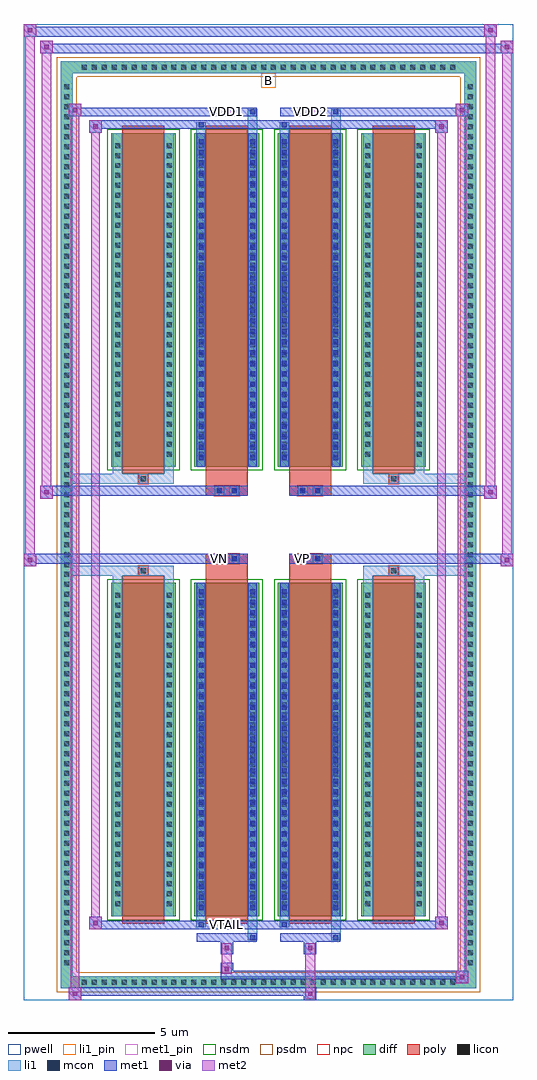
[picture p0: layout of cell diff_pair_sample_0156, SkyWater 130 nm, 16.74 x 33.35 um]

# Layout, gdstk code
import gdstk
lib = gdstk.Library(unit=1e-6, precision=5e-09)
def R(c, l, rs):  # rectangles x0, y0, x1, y1
    for r in rs: c.add(gdstk.rectangle(r[:2], r[2:], *l))
def A(c, l, x, y, w, h, nx, ny, dx, dy):  # array of equal rectangles
    R(c, l, [(x+i*dx, y+j*dy, x+i*dx+w, y+j*dy+h) for i in range(nx) for j in range(ny)])
def P(c, l, *ps):  # polygons
    for p in ps: c.add(gdstk.Polygon(p, *l))
pwell = (64, 44)
diff = (65, 20)
poly = (66, 20)
licon = (66, 44)
li1_pin = (67, 16)
li1 = (67, 20)
mcon = (67, 44)
met1_pin = (68, 16)
met1 = (68, 20)
via = (68, 44)
met2 = (69, 20)
nsdm = (93, 44)
psdm = (94, 20)
npc = (95, 20)

diff_pair_sample_0156 = lib.new_cell('diff_pair_sample_0156')
R(diff_pair_sample_0156, pwell, [(-8.37,-16.24,8.37,17.11), (-5.69,-14.43,-0.01,-0.795), (0.01,-14.43,5.69,-0.795), (-5.69,0.795,-0.01,14.43), (0.01,0.795,5.69,14.43)])
A(diff_pair_sample_0156, diff, -6.495, -15.84, 0.41, 0.41, 38, 2, 0.34, 31.27)
A(diff_pair_sample_0156, diff, -7.1, -15.165, 0.41, 0.41, 1, 89, 0, 0.34)
A(diff_pair_sample_0156, diff, 6.69, -15.165, 0.41, 0.41, 1, 89, 0, 0.34)
A(diff_pair_sample_0156, diff, -5.38, -13.385, 2.21, 11.4, 4, 2, 2.85, 15.37)
R(diff_pair_sample_0156, diff, [(-6.495,-15.84,6.495,-15.43), (-7.1,-15.165,-6.69,15.165), (6.69,-15.165,7.1,15.165), (-6.495,15.43,6.495,15.84)])
P(diff_pair_sample_0156, diff, [(7.1,15.84),(-7.1,15.84),(-7.1,-15.43),(-6.69,-15.43),(-6.69,15.43),(6.69,15.43),(6.69,-15.43),(-6.69,-15.43),(-7.1,-15.43),(-7.1,-15.84),(7.1,-15.84)])
A(diff_pair_sample_0156, poly, -4.99, -13.635, 1.43, 11.9, 4, 2, 2.85, 15.37)
R(diff_pair_sample_0156, poly, [(-4.44,-1.735,-4.11,-1.405), (-4.44,-1.735,-4.11,-1.405), (-2.14,-1.735,-0.71,-1.325), (0.71,-1.735,2.14,-1.325), (4.11,-1.735,4.44,-1.405), (4.11,-1.735,4.44,-1.405), (-2.14,-1.325,-0.71,-0.995), (-1.84,-1.325,-1.51,-0.995), (-1.34,-1.325,-1.01,-0.995), (0.71,-1.325,2.14,-0.995), (1.01,-1.325,1.34,-0.995), (1.51,-1.325,1.84,-0.995), (-2.14,0.995,-0.71,1.325), (-1.84,0.995,-1.51,1.325), (-1.34,0.995,-1.01,1.325), (0.71,0.995,2.14,1.325), (1.01,0.995,1.34,1.325), (1.51,0.995,1.84,1.325), (-2.14,1.325,-0.71,1.735), (0.71,1.325,2.14,1.735), (-4.44,1.405,-4.11,1.735), (-4.44,1.405,-4.11,1.735), (4.11,1.405,4.44,1.735), (4.11,1.405,4.44,1.735)])
A(diff_pair_sample_0156, licon, -6.375, -15.72, 0.17, 0.17, 38, 2, 0.34, 31.27)
A(diff_pair_sample_0156, licon, -6.98, -15.045, 0.17, 0.17, 1, 89, 0, 0.34)
A(diff_pair_sample_0156, licon, 6.81, -15.045, 0.17, 0.17, 1, 89, 0, 0.34)
A(diff_pair_sample_0156, licon, -5.24, -13.04, 0.17, 0.17, 1, 32, 0, 0.34)
A(diff_pair_sample_0156, licon, -3.48, -13.04, 0.17, 0.17, 1, 32, 0, 0.34)
A(diff_pair_sample_0156, licon, -2.39, -13.04, 0.17, 0.17, 1, 32, 0, 0.34)
A(diff_pair_sample_0156, licon, -0.63, -13.04, 0.17, 0.17, 1, 32, 0, 0.34)
A(diff_pair_sample_0156, licon, 0.46, -13.04, 0.17, 0.17, 1, 32, 0, 0.34)
A(diff_pair_sample_0156, licon, 2.22, -13.04, 0.17, 0.17, 1, 32, 0, 0.34)
A(diff_pair_sample_0156, licon, 3.31, -13.04, 0.17, 0.17, 1, 32, 0, 0.34)
A(diff_pair_sample_0156, licon, 5.07, -13.04, 0.17, 0.17, 1, 32, 0, 0.34)
A(diff_pair_sample_0156, licon, -5.24, 2.33, 0.17, 0.17, 1, 32, 0, 0.34)
A(diff_pair_sample_0156, licon, -3.48, 2.33, 0.17, 0.17, 1, 32, 0, 0.34)
A(diff_pair_sample_0156, licon, -2.39, 2.33, 0.17, 0.17, 1, 32, 0, 0.34)
A(diff_pair_sample_0156, licon, -0.63, 2.33, 0.17, 0.17, 1, 32, 0, 0.34)
A(diff_pair_sample_0156, licon, 0.46, 2.33, 0.17, 0.17, 1, 32, 0, 0.34)
A(diff_pair_sample_0156, licon, 2.22, 2.33, 0.17, 0.17, 1, 32, 0, 0.34)
A(diff_pair_sample_0156, licon, 3.31, 2.33, 0.17, 0.17, 1, 32, 0, 0.34)
A(diff_pair_sample_0156, licon, 5.07, 2.33, 0.17, 0.17, 1, 32, 0, 0.34)
R(diff_pair_sample_0156, licon, [(-4.36,-1.655,-4.19,-1.485), (4.19,-1.655,4.36,-1.485), (-1.76,-1.245,-1.59,-1.075), (-1.26,-1.245,-1.09,-1.075), (1.09,-1.245,1.26,-1.075), (1.59,-1.245,1.76,-1.075), (-1.76,1.075,-1.59,1.245), (-1.26,1.075,-1.09,1.245), (1.09,1.075,1.26,1.245), (1.59,1.075,1.76,1.245), (-4.36,1.485,-4.19,1.655), (4.19,1.485,4.36,1.655)])
R(diff_pair_sample_0156, li1_pin, [(-0.25,14.93,0.25,15.43)])
A(diff_pair_sample_0156, li1, -6.455, -15.8, 0.33, 0.33, 38, 2, 0.34, 31.27)
A(diff_pair_sample_0156, li1, -7.06, -15.125, 0.33, 0.33, 1, 89, 0, 0.34)
A(diff_pair_sample_0156, li1, 6.73, -15.125, 0.33, 0.33, 1, 89, 0, 0.34)
A(diff_pair_sample_0156, li1, -2.39, -13.17, 0.17, 0.17, 1, 31, 0, 0.36)
A(diff_pair_sample_0156, li1, -0.63, -13.17, 0.17, 0.17, 1, 31, 0, 0.36)
A(diff_pair_sample_0156, li1, 0.46, -13.17, 0.17, 0.17, 1, 31, 0, 0.36)
A(diff_pair_sample_0156, li1, 2.22, -13.17, 0.17, 0.17, 1, 31, 0, 0.36)
A(diff_pair_sample_0156, li1, -5.32, -13.12, 0.33, 0.33, 1, 32, 0, 0.34)
A(diff_pair_sample_0156, li1, -3.56, -13.12, 0.33, 0.33, 1, 32, 0, 0.34)
A(diff_pair_sample_0156, li1, -2.47, -13.12, 0.33, 0.33, 1, 32, 0, 0.34)
A(diff_pair_sample_0156, li1, -0.71, -13.12, 0.33, 0.33, 1, 32, 0, 0.34)
A(diff_pair_sample_0156, li1, 0.38, -13.12, 0.33, 0.33, 1, 32, 0, 0.34)
A(diff_pair_sample_0156, li1, 2.14, -13.12, 0.33, 0.33, 1, 32, 0, 0.34)
A(diff_pair_sample_0156, li1, 3.23, -13.12, 0.33, 0.33, 1, 32, 0, 0.34)
A(diff_pair_sample_0156, li1, 4.99, -13.12, 0.33, 0.33, 1, 32, 0, 0.34)
A(diff_pair_sample_0156, li1, -2.39, 2.2, 0.17, 0.17, 1, 31, 0, 0.36)
A(diff_pair_sample_0156, li1, -0.63, 2.2, 0.17, 0.17, 1, 31, 0, 0.36)
A(diff_pair_sample_0156, li1, 0.46, 2.2, 0.17, 0.17, 1, 31, 0, 0.36)
A(diff_pair_sample_0156, li1, 2.22, 2.2, 0.17, 0.17, 1, 31, 0, 0.36)
A(diff_pair_sample_0156, li1, -5.32, 2.25, 0.33, 0.33, 1, 32, 0, 0.34)
A(diff_pair_sample_0156, li1, -3.56, 2.25, 0.33, 0.33, 1, 32, 0, 0.34)
A(diff_pair_sample_0156, li1, -2.47, 2.25, 0.33, 0.33, 1, 32, 0, 0.34)
A(diff_pair_sample_0156, li1, -0.71, 2.25, 0.33, 0.33, 1, 32, 0, 0.34)
A(diff_pair_sample_0156, li1, 0.38, 2.25, 0.33, 0.33, 1, 32, 0, 0.34)
A(diff_pair_sample_0156, li1, 2.14, 2.25, 0.33, 0.33, 1, 32, 0, 0.34)
A(diff_pair_sample_0156, li1, 3.23, 2.25, 0.33, 0.33, 1, 32, 0, 0.34)
A(diff_pair_sample_0156, li1, 4.99, 2.25, 0.33, 0.33, 1, 32, 0, 0.34)
R(diff_pair_sample_0156, li1, [(-7.1,-15.84,-6.69,-15.43), (-7.1,-15.84,-6.69,-15.43), (-6.69,-15.84,6.69,-15.43), (6.69,-15.84,7.1,-15.43), (6.69,-15.84,7.1,-15.43), (-7.1,-15.43,-6.69,15.43), (6.69,-15.43,7.1,15.43), (-0.71,-14.19,-0.38,-13.385), (-0.63,-14.19,-0.46,-14.02), (2.14,-14.19,2.47,-13.385), (2.22,-14.19,2.39,-14.02), (-2.47,-13.76,-2.14,-13.385), (-2.39,-13.76,-2.22,-13.59), (0.38,-13.76,0.71,-13.385), (0.46,-13.76,0.63,-13.59), (-5.32,-13.385,-4.99,-1.985), (-3.56,-13.385,-3.23,-1.985), (-2.47,-13.385,-2.14,-1.985), (-0.71,-13.385,-0.38,-1.985), (0.38,-13.385,0.71,-1.985), (2.14,-13.385,2.47,-1.985), (3.23,-13.385,3.56,-1.985), (4.99,-13.385,5.32,-1.985), (-2.39,-13.17,-2.22,-2.2), (-0.63,-13.17,-0.46,-2.2), (0.46,-13.17,0.63,-2.2), (2.22,-13.17,2.39,-2.2), (-5.32,-1.985,-4.99,-1.405), (-3.56,-1.985,-3.23,-1.405), (3.23,-1.985,3.56,-1.405), (4.99,-1.985,5.32,-1.405), (-7.1,-1.735,-4.44,-1.405), (-5.32,-1.735,-4.44,-1.405), (-4.44,-1.735,-4.11,-1.405), (-4.11,-1.735,-3.23,-1.405), (3.23,-1.735,4.11,-1.405), (4.11,-1.735,4.44,-1.405), (4.11,-1.735,7.1,-1.405), (4.44,-1.735,5.32,-1.405), (-1.84,-1.325,-1.51,-0.995), (-1.34,-1.325,-1.01,-0.995), (1.01,-1.325,1.34,-0.995), (1.51,-1.325,1.84,-0.995), (-1.84,0.995,-1.51,1.325), (-1.34,0.995,-1.01,1.325), (1.01,0.995,1.34,1.325), (1.51,0.995,1.84,1.325), (-7.1,1.405,-4.44,1.735), (-5.32,1.405,-4.44,1.735), (-5.32,1.405,-4.99,1.985), (-4.44,1.405,-4.11,1.735), (-4.11,1.405,-3.23,1.735), (-3.56,1.405,-3.23,1.985), (3.23,1.405,4.11,1.735), (3.23,1.405,3.56,1.985), (4.11,1.405,4.44,1.735), (4.11,1.405,7.1,1.735), (4.44,1.405,5.32,1.735), (4.99,1.405,5.32,1.985), (-5.32,1.985,-4.99,13.385), (-3.56,1.985,-3.23,13.385), (-2.47,1.985,-2.14,13.385), (-0.71,1.985,-0.38,13.385), (0.38,1.985,0.71,13.385), (2.14,1.985,2.47,13.385), (3.23,1.985,3.56,13.385), (4.99,1.985,5.32,13.385), (-2.39,2.2,-2.22,13.17), (-0.63,2.2,-0.46,13.17), (0.46,2.2,0.63,13.17), (2.22,2.2,2.39,13.17), (-2.47,13.385,-2.14,13.76), (-0.71,13.385,-0.38,14.19), (0.38,13.385,0.71,13.76), (2.14,13.385,2.47,14.19), (-2.39,13.59,-2.22,13.76), (0.46,13.59,0.63,13.76), (-0.63,14.02,-0.46,14.19), (2.22,14.02,2.39,14.19), (-7.1,15.43,-6.69,15.84), (-7.1,15.43,-6.69,15.84), (-6.69,15.43,6.69,15.84), (6.69,15.43,7.1,15.84), (6.69,15.43,7.1,15.84)])
A(diff_pair_sample_0156, mcon, -2.39, -13.17, 0.17, 0.17, 1, 31, 0, 0.36)
A(diff_pair_sample_0156, mcon, -0.63, -13.17, 0.17, 0.17, 1, 31, 0, 0.36)
A(diff_pair_sample_0156, mcon, 0.46, -13.17, 0.17, 0.17, 1, 31, 0, 0.36)
A(diff_pair_sample_0156, mcon, 2.22, -13.17, 0.17, 0.17, 1, 31, 0, 0.36)
A(diff_pair_sample_0156, mcon, -2.39, 2.2, 0.17, 0.17, 1, 31, 0, 0.36)
A(diff_pair_sample_0156, mcon, -0.63, 2.2, 0.17, 0.17, 1, 31, 0, 0.36)
A(diff_pair_sample_0156, mcon, 0.46, 2.2, 0.17, 0.17, 1, 31, 0, 0.36)
A(diff_pair_sample_0156, mcon, 2.22, 2.2, 0.17, 0.17, 1, 31, 0, 0.36)
R(diff_pair_sample_0156, mcon, [(-0.63,-14.19,-0.46,-14.02), (2.22,-14.19,2.39,-14.02), (-2.39,-13.76,-2.22,-13.59), (0.46,-13.76,0.63,-13.59), (-1.76,-1.245,-1.59,-1.075), (-1.26,-1.245,-1.09,-1.075), (1.09,-1.245,1.26,-1.075), (1.59,-1.245,1.76,-1.075), (-1.76,1.075,-1.59,1.245), (-1.26,1.075,-1.09,1.245), (1.09,1.075,1.26,1.245), (1.59,1.075,1.76,1.245), (-2.39,13.59,-2.22,13.76), (0.46,13.59,0.63,13.76), (-0.63,14.02,-0.46,14.19), (2.22,14.02,2.39,14.19)])
R(diff_pair_sample_0156, met1_pin, [(-1.56,-13.8,-1.29,-13.53), (-1.81,-1.285,-1.54,-1.015), (1.04,-1.285,1.31,-1.015), (-1.56,13.98,-1.29,14.25), (1.29,13.98,1.56,14.25)])
A(diff_pair_sample_0156, met1, -2.45, -13.23, 0.29, 0.29, 1, 31, 0, 0.36)
A(diff_pair_sample_0156, met1, -0.69, -13.23, 0.29, 0.29, 1, 31, 0, 0.36)
A(diff_pair_sample_0156, met1, 0.4, -13.23, 0.29, 0.29, 1, 31, 0, 0.36)
A(diff_pair_sample_0156, met1, 2.16, -13.23, 0.29, 0.29, 1, 31, 0, 0.36)
A(diff_pair_sample_0156, met1, -2.45, 2.14, 0.29, 0.29, 1, 31, 0, 0.36)
A(diff_pair_sample_0156, met1, -0.69, 2.14, 0.29, 0.29, 1, 31, 0, 0.36)
A(diff_pair_sample_0156, met1, 0.4, 2.14, 0.29, 0.29, 1, 31, 0, 0.36)
A(diff_pair_sample_0156, met1, 2.16, 2.14, 0.29, 0.29, 1, 31, 0, 0.36)
R(diff_pair_sample_0156, met1, [(-6.83,-16.24,-6.4,-15.81), (1.21,-16.24,1.64,-15.81), (-6.83,-16.1,1.64,-15.81), (6.4,-15.67,6.83,-15.24), (-1.64,-15.53,6.83,-15.24), (-1.64,-15.39,-1.21,-14.96), (-1.64,-14.68,-1.21,-14.25), (1.21,-14.68,1.64,-14.25), (-2.45,-14.25,-0.4,-13.96), (-0.69,-14.25,-0.4,-13.96), (0.4,-14.25,2.45,-13.96), (2.16,-14.25,2.45,-13.96), (-6.12,-13.82,-5.69,-13.39), (-6.12,-13.82,-2.45,-13.53), (-2.45,-13.82,-2.16,-13.53), (-2.45,-13.82,-0.4,-13.53), (-0.4,-13.82,0.4,-13.53), (0.4,-13.82,0.69,-13.53), (0.4,-13.82,2.45,-13.53), (2.45,-13.82,6.12,-13.53), (5.69,-13.82,6.12,-13.39), (-2.45,-13.385,-2.16,-1.985), (-0.69,-13.385,-0.4,-1.985), (0.4,-13.385,0.69,-1.985), (2.16,-13.385,2.45,-1.985), (-8.37,-1.425,-7.94,-0.995), (7.94,-1.425,8.37,-0.995), (-8.37,-1.325,-0.71,-0.995), (-2.14,-1.325,-0.71,-0.995), (0.71,-1.325,2.14,-0.995), (0.71,-1.325,8.37,-0.995), (-1.82,-1.305,-1.53,-1.015), (-1.32,-1.305,-1.03,-1.015), (1.03,-1.305,1.32,-1.015), (1.53,-1.305,1.82,-1.015), (-7.8,0.895,-7.37,1.325), (7.37,0.895,7.8,1.325), (-7.8,0.995,-2.14,1.325), (-2.14,0.995,-0.71,1.325), (0.71,0.995,2.14,1.325), (2.14,0.995,7.8,1.325), (-1.82,1.015,-1.53,1.305), (-1.32,1.015,-1.03,1.305), (1.03,1.015,1.32,1.305), (1.53,1.015,1.82,1.305), (-2.45,1.985,-2.16,13.385), (-0.69,1.985,-0.4,13.385), (0.4,1.985,0.69,13.385), (2.16,1.985,2.45,13.385), (-6.12,13.39,-5.69,13.82), (5.69,13.39,6.12,13.82), (-6.12,13.53,-2.45,13.82), (-2.45,13.53,-2.16,13.82), (-2.45,13.53,-0.4,13.82), (-0.4,13.53,0.4,13.82), (0.4,13.53,0.69,13.82), (0.4,13.53,2.45,13.82), (2.45,13.53,6.12,13.82), (-6.83,13.96,-6.4,14.39), (-6.83,13.96,-2.45,14.25), (-2.45,13.96,-0.4,14.25), (-0.69,13.96,-0.4,14.25), (0.4,13.96,2.45,14.25), (2.16,13.96,2.45,14.25), (2.45,13.96,6.83,14.25), (6.4,13.96,6.83,14.39), (-7.8,16.11,-7.37,16.54), (-7.8,16.11,-5.69,16.44), (-5.69,16.11,5.69,16.44), (5.69,16.11,8.37,16.44), (7.94,16.11,8.37,16.54), (-8.37,16.68,-7.94,17.11), (-8.37,16.68,-5.69,17.01), (-5.69,16.68,5.69,17.01), (5.69,16.68,7.8,17.01), (7.37,16.68,7.8,17.11)])
R(diff_pair_sample_0156, via, [(-6.69,-16.1,-6.54,-15.95), (1.35,-16.1,1.5,-15.95), (6.54,-15.53,6.69,-15.38), (-1.5,-15.25,-1.35,-15.1), (-1.5,-14.54,-1.35,-14.39), (1.35,-14.54,1.5,-14.39), (-5.98,-13.68,-5.83,-13.53), (5.83,-13.68,5.98,-13.53), (-8.23,-1.285,-8.08,-1.135), (8.08,-1.285,8.23,-1.135), (-7.66,1.035,-7.51,1.185), (7.51,1.035,7.66,1.185), (-5.98,13.53,-5.83,13.68), (5.83,13.53,5.98,13.68), (-6.69,14.1,-6.54,14.25), (6.54,14.1,6.69,14.25), (-7.66,16.25,-7.51,16.4), (8.08,16.25,8.23,16.4), (-8.23,16.82,-8.08,16.97), (7.51,16.82,7.66,16.97)])
R(diff_pair_sample_0156, met2, [(-6.83,-16.24,-6.4,-15.81), (-6.76,-16.24,-6.47,14.39), (-6.47,-16.24,-6.4,-15.81), (-6.78,-16.19,-6.45,-15.86), (1.26,-16.19,1.59,-15.86), (1.26,-15.86,1.59,-14.63), (6.4,-15.67,6.83,-15.24), (6.47,-15.67,6.76,14.39), (6.76,-15.67,6.83,-15.24), (6.45,-15.62,6.78,-15.29), (-1.59,-15.34,-1.26,-15.01), (-1.59,-15.01,-1.26,-14.63), (-1.59,-14.63,-1.26,-14.3), (1.26,-14.63,1.59,-14.3), (-6.12,-13.82,-5.69,-13.39), (-6.05,-13.82,-5.76,13.82), (-5.76,-13.82,-5.69,-13.39), (5.69,-13.82,6.12,-13.39), (5.76,-13.82,6.05,13.82), (6.05,-13.82,6.12,-13.39), (-6.07,-13.77,-5.74,-13.44), (5.74,-13.77,6.07,-13.44), (-8.37,-1.425,-7.94,-0.995), (-8.32,-1.425,-7.99,17.11), (-7.99,-1.425,-7.94,-0.995), (7.94,-1.425,8.37,-0.995), (7.99,-1.425,8.32,16.54), (8.32,-1.425,8.37,-0.995), (-8.32,-1.375,-7.99,-1.045), (7.99,-1.375,8.32,-1.045), (-7.8,0.895,-7.37,1.325), (-7.75,0.895,-7.42,16.54), (-7.42,0.895,-7.37,1.325), (7.37,0.895,7.8,1.325), (7.42,0.895,7.75,17.11), (7.75,0.895,7.8,1.325), (-7.75,0.945,-7.42,1.275), (7.42,0.945,7.75,1.275), (-6.12,13.39,-5.69,13.82), (-5.76,13.39,-5.69,13.82), (5.69,13.39,6.12,13.82), (6.05,13.39,6.12,13.82), (-6.07,13.44,-5.74,13.77), (5.74,13.44,6.07,13.77), (-6.83,13.96,-6.4,14.39), (-6.47,13.96,-6.4,14.39), (6.4,13.96,6.83,14.39), (6.76,13.96,6.83,14.39), (-6.78,14.01,-6.45,14.34), (6.45,14.01,6.78,14.34), (-7.8,16.11,-7.37,16.54), (-7.42,16.11,-7.37,16.54), (7.94,16.11,8.37,16.54), (8.32,16.11,8.37,16.54), (-7.75,16.16,-7.42,16.49), (7.99,16.16,8.32,16.49), (-8.37,16.68,-7.94,17.11), (-7.99,16.68,-7.94,17.11), (7.37,16.68,7.8,17.11), (7.75,16.68,7.8,17.11), (-8.32,16.73,-7.99,17.06), (7.42,16.73,7.75,17.06)])
A(diff_pair_sample_0156, nsdm, -5.51, -13.515, 2.47, 11.66, 4, 2, 2.85, 15.37)
P(diff_pair_sample_0156, psdm, [(7.23,15.97),(-7.23,15.97),(-7.23,-15.3),(-6.56,-15.3),(-6.56,15.3),(6.56,15.3),(6.56,-15.3),(-6.56,-15.3),(-7.23,-15.3),(-7.23,-15.97),(7.23,-15.97)])
R(diff_pair_sample_0156, npc, [(-4.46,-1.755,-4.09,-1.385), (4.09,-1.755,4.46,-1.385), (-1.86,-1.345,-1.49,-0.975), (-1.86,-1.345,-0.99,-0.975), (-1.86,-1.345,-0.99,-0.975), (-1.36,-1.345,-0.99,-0.975), (0.99,-1.345,1.36,-0.975), (0.99,-1.345,1.86,-0.975), (0.99,-1.345,1.86,-0.975), (1.49,-1.345,1.86,-0.975), (-1.86,0.975,-1.49,1.345), (-1.86,0.975,-0.99,1.345), (-1.86,0.975,-0.99,1.345), (-1.36,0.975,-0.99,1.345), (0.99,0.975,1.36,1.345), (0.99,0.975,1.86,1.345), (0.99,0.975,1.86,1.345), (1.49,0.975,1.86,1.345), (-4.46,1.385,-4.09,1.755), (4.09,1.385,4.46,1.755)])
diff_pair_sample_0156.add(gdstk.Label('VTAIL', (-1.425,-13.665), layer=68, texttype=5))
diff_pair_sample_0156.add(gdstk.Label('VN', (-1.675,-1.15), layer=68, texttype=5))
diff_pair_sample_0156.add(gdstk.Label('VP', (1.175,-1.15), layer=68, texttype=5))
diff_pair_sample_0156.add(gdstk.Label('B', (0,15.18), layer=67, texttype=5))
diff_pair_sample_0156.add(gdstk.Label('VDD2', (1.425,14.115), layer=68, texttype=5))
diff_pair_sample_0156.add(gdstk.Label('VDD1', (-1.425,14.115), layer=68, texttype=5))

lib.write_gds('diff_pair_sample_0156.gds')
